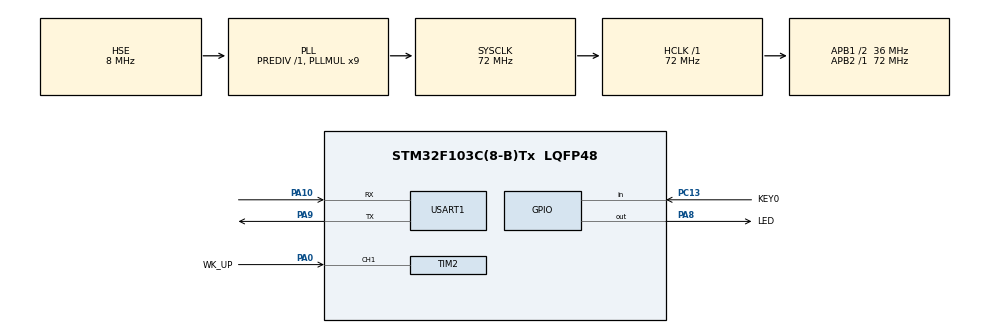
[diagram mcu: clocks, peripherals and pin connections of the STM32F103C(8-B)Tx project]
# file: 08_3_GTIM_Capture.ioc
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Mcu.Family=STM32F1
Mcu.Name=STM32F103C(8-B)Tx
Mcu.Package=LQFP48
NVIC.PriorityGroup=NVIC_PRIORITYGROUP_2
NVIC.TIM2_IRQn=true\:2\:1\:true\:false\:true\:true\:true\:true
NVIC.USART1_IRQn=true\:2\:0\:true\:false\:true\:true\:true\:true
PA0-WKUP.GPIO_Label=WK_UP
PA0-WKUP.GPIO_Speed=GPIO_SPEED_FREQ_HIGH
PA0-WKUP.Signal=S_TIM2_CH1_ETR
PA10.Mode=Asynchronous
PA10.Signal=USART1_RX
PA13.Mode=Serial_Wire
PA13.Signal=SYS_JTMS-SWDIO
PA14.Mode=Serial_Wire
PA14.Signal=SYS_JTCK-SWCLK
PA8.GPIO_Label=LED
PA8.GPIO_PuPd=GPIO_PULLUP
PA8.GPIO_Speed=GPIO_SPEED_FREQ_HIGH
PA8.PinState=GPIO_PIN_SET
PA8.Signal=GPIO_Output
PA9.Mode=Asynchronous
PA9.Signal=USART1_TX
PC13-TAMPER-RTC.GPIO_Label=KEY0
PC13-TAMPER-RTC.GPIO_PuPd=GPIO_PULLUP
PC13-TAMPER-RTC.Signal=GPIO_Input
PC14-OSC32_IN.Mode=LSE-External-Oscillator
PC14-OSC32_IN.Signal=RCC_OSC32_IN
PC15-OSC32_OUT.Mode=LSE-External-Oscillator
PC15-OSC32_OUT.Signal=RCC_OSC32_OUT
PD0-OSC_IN.Mode=HSE-External-Oscillator
PD0-OSC_IN.Signal=RCC_OSC_IN
PD1-OSC_OUT.Mode=HSE-External-Oscillator
PD1-OSC_OUT.Signal=RCC_OSC_OUT
ProjectManager.HeapSize=0x200
ProjectManager.StackSize=0x400
ProjectManager.TargetToolchain=STM32CubeIDE
RCC.AHBFreq_Value=72000000
RCC.APB1CLKDivider=RCC_HCLK_DIV2
RCC.APB1Freq_Value=36000000
RCC.APB1TimFreq_Value=72000000
RCC.APB2Freq_Value=72000000
RCC.APB2TimFreq_Value=72000000
RCC.HCLKFreq_Value=72000000
RCC.PLLMUL=RCC_PLL_MUL9
RCC.PLLSourceVirtual=RCC_PLLSOURCE_HSE
RCC.SYSCLKFreq_VALUE=72000000
RCC.SYSCLKSource=RCC_SYSCLKSOURCE_PLLCLK
RCC.USBFreq_Value=72000000
SH.S_TIM2_CH1_ETR.0=TIM2_CH1,Input_Capture1_from_TI1
TIM2.AutoReloadPreload=TIM_AUTORELOAD_PRELOAD_ENABLE
TIM2.Channel-Input_Capture1_from_TI1=TIM_CHANNEL_1
TIM2.Prescaler=72 - 1
USART1.VirtualMode=VM_ASYNC
VP_TIM2_VS_ClockSourceINT.Mode=Internal
board=custom

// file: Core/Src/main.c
/**
 ****************************************************************************************************
 * @file        main.c
 * @author      ALIENTEK
 * @brief       General-purpose timers input capture code
 * @license     Copyright (C) 2020-2032, ALIENTEK
 ****************************************************************************************************
 * @attention
 *
 * platform  	: ALIENTEK STM32F103 development board
 * website		: https://www.alientek.com
 * forum		: http://www.openedv.com/forum.php
 *
 * change logs	:
 * version		data		notes
 * V1.0			20240222	the first version
 *
 ****************************************************************************************************
 */

/* USER CODE BEGIN Header */

/* USER CODE END Header */
#include "main.h"
#include "tim.h"
#include "usart.h"
#include "gpio.h"

/* USER CODE BEGIN Includes */
#include "../../BSP/LED/led.h"
#include "../../BSP/KEY/key.h"
/* USER CODE END Includes */

/* USER CODE BEGIN PTD */

extern uint8_t  g_timxchy_cap_sta;  /* Input capture state. */
extern uint16_t g_timxchy_cap_val;  /* Input capture value. */

/* USER CODE END PTD */

void SystemClock_Config(void);

int main(void)
{
  /* USER CODE BEGIN 1 */
	  uint32_t temp = 0;
	  uint8_t t = 0;
  /* USER CODE END 1 */

  /* MCU Configuration--------------------------------------------------------*/

  /* Reset of all peripherals, Initializes the Flash interface and the Systick. */
  HAL_Init();

  /* Configure the system clock */
  SystemClock_Config();

  /* Initialize all configured peripherals */
  MX_GPIO_Init();
  MX_USART1_UART_Init();
  MX_TIM2_Init();

  /* Infinite loop */
  /* USER CODE BEGIN WHILE */
  while (1)
  {
	  if (g_timxchy_cap_sta & 0X80)
	  {
	      temp = g_timxchy_cap_sta & 0X3F;
	      temp *= 65536;
	      temp += g_timxchy_cap_val;
	      printf("HIGH:%d us\r\n", (unsigned int)temp);
	      g_timxchy_cap_sta = 0;
	  }

	  t++;

	  if (t > 20)
	  {
	      t = 0;
	      LED_TOGGLE();
	  }

	  HAL_Delay(10);                      /* delay 10ms */
    /* USER CODE END WHILE */

  }
}

void SystemClock_Config(void)
{
  RCC_OscInitTypeDef RCC_OscInitStruct = {0};
  RCC_ClkInitTypeDef RCC_ClkInitStruct = {0};

  /** Initializes the RCC Oscillators according to the specified parameters
  * in the RCC_OscInitTypeDef structure.
  */
  RCC_OscInitStruct.OscillatorType = RCC_OSCILLATORTYPE_HSE;
  RCC_OscInitStruct.HSEState = RCC_HSE_ON;
  RCC_OscInitStruct.HSEPredivValue = RCC_HSE_PREDIV_DIV1;
  RCC_OscInitStruct.HSIState = RCC_HSI_ON;
  RCC_OscInitStruct.PLL.PLLState = RCC_PLL_ON;
  RCC_OscInitStruct.PLL.PLLSource = RCC_PLLSOURCE_HSE;
  RCC_OscInitStruct.PLL.PLLMUL = RCC_PLL_MUL9;
  if (HAL_RCC_OscConfig(&RCC_OscInitStruct) != HAL_OK)
  {
    Error_Handler();
  }

  /** Initializes the CPU, AHB and APB buses clocks
  */
  RCC_ClkInitStruct.ClockType = RCC_CLOCKTYPE_HCLK|RCC_CLOCKTYPE_SYSCLK
                              |RCC_CLOCKTYPE_PCLK1|RCC_CLOCKTYPE_PCLK2;
  RCC_ClkInitStruct.SYSCLKSource = RCC_SYSCLKSOURCE_PLLCLK;
  RCC_ClkInitStruct.AHBCLKDivider = RCC_SYSCLK_DIV1;
  RCC_ClkInitStruct.APB1CLKDivider = RCC_HCLK_DIV2;
  RCC_ClkInitStruct.APB2CLKDivider = RCC_HCLK_DIV1;

  if (HAL_RCC_ClockConfig(&RCC_ClkInitStruct, FLASH_LATENCY_2) != HAL_OK)
  {
    Error_Handler();
  }
}

void Error_Handler(void)
{
  __disable_irq();
  while (1)
  {
  }
}
